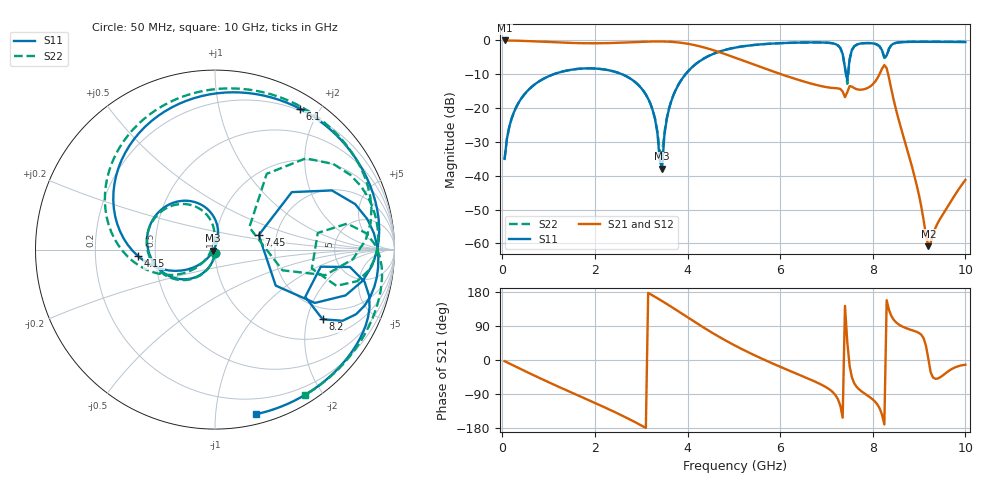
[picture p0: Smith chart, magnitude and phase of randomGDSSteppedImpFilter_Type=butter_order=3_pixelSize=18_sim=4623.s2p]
! freq	dB(S11)	phase(S11)	dB(S12)	phase(S12)
!  dB(S21)	phase(S21)	dB(S22)	phase(S22)
!S-par simulation data
#  GHz  S  DB  R 50
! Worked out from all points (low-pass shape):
!   200 points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, 50 MHz to 10 GHz, reference 50 ohm
!   highest |S21| = -0.01 dB at 50 MHz (marker M1); lowest = -60.8 dB at 9.2 GHz (marker M2)
!   |S21| within 3 dB of the highest: start of sweep to 4.586 GHz
!   lowest |S11| = -37.9 dB at 3.45 GHz (marker M3), VSWR 1.03, Z = 48.9 - j0.562 ohm
!   |S11| at or under -10 dB: start of sweep to 1.108 GHz; 2.585 GHz to 3.957 GHz (1.372 GHz wide, 41.9 % of centre); 7.426 GHz to 7.464 GHz (38.52 MHz wide, 0.517 % of centre)
!   |S22| runs from -35.0 to -0.4 dB; largest |S21 - S12| = 0
!   S11 on the Smith chart (normalised r, x): 50 MHz: 1.00, -0.04; 4.15 GHz: 0.40, -0.03; 6.1 GHz: 0.18, +1.75; 7.45 GHz: 1.61, +0.28; 8.2 GHz: 1.57, -2.50; 10 GHz: 0.07, -1.28
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0.05  -35.03 -92.8  -0.01 -3.1  -0.01 -3.1  -35.03 -92.7
0.2  -23.15 -102.4  -0.04 -12.1  -0.04 -12.1  -23.15 -102.1
0.5  -15.58 -120.9  -0.16 -29.9  -0.16 -29.9  -15.58 -120.0
1.75  -8.30 168.1  -0.82 -99.7  -0.82 -99.7  -8.30 171.6
3  -14.09 94.6  -0.41 -172.7  -0.41 -172.7  -14.08 103.0
3.3  -23.39 76.5  -0.30 166.6  -0.30 166.6  -23.23 92.0
3.4  -35.40 85.6  -0.30 159.3  -0.30 159.3  -32.71 120.3
3.45  -37.89 -153.2  -0.30 155.6  -0.30 155.6  -33.54 -170.6
3.65  -17.91 -136.9  -0.41 140.4  -0.41 140.4  -17.81 -134.9
4.15  -7.30 -175.3  -1.37 100.9  -1.37 100.9  -7.29 -168.0
5.05  -2.07 119.6  -5.21 36.5  -5.21 36.5  -2.07 130.5
6.1  -0.76 59.0  -10.36 -23.0  -10.36 -23.0  -0.75 73.1
6.7  -0.58 27.8  -12.88 -54.1  -12.88 -54.1  -0.58 43.1
7.25  -1.49 -11.8  -14.17 -104.1  -14.17 -104.1  -1.49 3.7
7.35  -4.00 -28.1  -15.10 -152.3  -15.10 -152.3  -4.00 -13.0
7.45  -11.80 18.4  -15.30 46.4  -15.30 46.4  -12.85 32.9
7.55  -2.74 26.8  -13.66 -46.1  -13.66 -46.1  -2.89 45.2
7.7  -1.01 6.0  -14.55 -77.0  -14.55 -77.0  -1.04 23.4
8.2  -2.92 -32.9  -8.34 -144.2  -8.34 -144.2  -3.02 -16.6
8.35  -2.41 -7.3  -11.07 132.3  -11.07 132.3  -2.49 11.1
9.2  -0.41 -51.1  -60.83 3.1  -60.83 3.1  -0.37 -33.5
10  -0.49 -75.9  -41.25 -12.5  -41.25 -12.5  -0.43 -58.3
